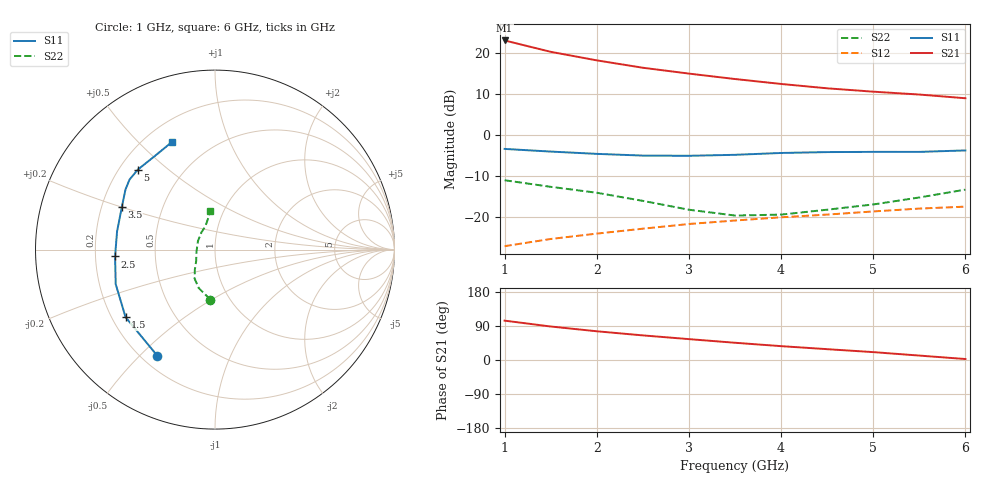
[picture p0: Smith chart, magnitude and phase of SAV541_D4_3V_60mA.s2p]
! Created Mon Oct 27 14:56:07 2008
# hz S ma R 50
! 2 Port Network Data from SP1.SP block
! freq  magS11  angS11  magS21  angS21  magS12  angS12  magS22  angS22
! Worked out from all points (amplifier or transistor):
!   11 points, 1 GHz to 6 GHz, reference 50 ohm
!   highest |S21| = 23.0 dB at 1 GHz (marker M1)
!   |S21| within 3 dB of that: start of sweep to 1.555 GHz
!   unconditionally stable (mu >= 1): 3.849 GHz to end of sweep
!   at 1.5 GHz: K = 0.67, MSG = 22.8 dB, |S12| = -25.4 dB
!   at 3.5 GHz: K = 0.99, MSG = 17.2 dB, |S12| = -20.9 dB
!   at 6 GHz: K = 1.06, MAG = 11.7 dB, |S12| = -17.5 dB
!   S11 on the Smith chart (normalised r, x): 1 GHz: 0.26, -0.56; 1.5 GHz: 0.26, -0.32; 2.5 GHz: 0.28, -0.03; 3.5 GHz: 0.29, +0.20; 5 GHz: 0.27, +0.40; 6 GHz: 0.31, +0.63
1e9  0.6729 -118.5  14.12 103.8  0.04393 43.5  0.2793 -95.4
1.5e9  0.6246 -142.9  10.26 88.4  0.05375 40.1  0.2323 -113.1
2e9  0.5857 -160.8  8.076 75.8  0.06252 36.2  0.1967 -125.4
2.5e9  0.558 -176.1  6.565 64.9  0.07173 33.4  0.1566 -135.7
3e9  0.5549 169.5  5.57 55.1  0.08184 30.0  0.1222 -149.0
3.5e9  0.5703 155.6  4.784 45.5  0.09024 25.9  0.1037 -173.6
4e9  0.6006 146.2  4.165 36.6  0.09877 21.5  0.1065 153.1
4.5e9  0.6156 140.7  3.686 28.6  0.1066 17.3  0.1223 127.9
5e9  0.6193 133.9  3.354 20.8  0.1164 13.7  0.1416 112.1
5.5e9  0.6191 123.4  3.095 11.7  0.1261 7.9  0.1723 103.5
6e9  0.6452 112.0  2.789 2.6  0.1332 1.9  0.2149 97.0
